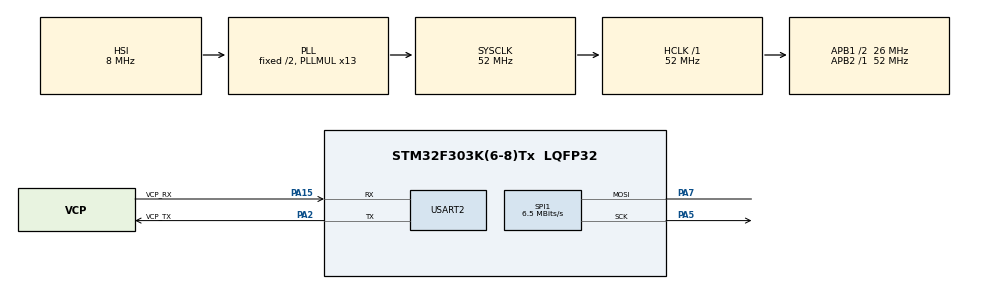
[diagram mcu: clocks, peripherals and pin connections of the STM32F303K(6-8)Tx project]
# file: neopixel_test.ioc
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Dma.Request0=SPI1_TX
Dma.SPI1_TX.0.Direction=DMA_MEMORY_TO_PERIPH
Dma.SPI1_TX.0.Instance=DMA1_Channel3
Dma.SPI1_TX.0.MemDataAlignment=DMA_MDATAALIGN_BYTE
Dma.SPI1_TX.0.MemInc=DMA_MINC_ENABLE
Dma.SPI1_TX.0.Mode=DMA_NORMAL
Dma.SPI1_TX.0.PeriphDataAlignment=DMA_PDATAALIGN_BYTE
Dma.SPI1_TX.0.PeriphInc=DMA_PINC_DISABLE
Dma.SPI1_TX.0.Priority=DMA_PRIORITY_LOW
Mcu.Family=STM32F3
Mcu.Name=STM32F303K(6-8)Tx
Mcu.Package=LQFP32
NVIC.DMA1_Channel3_IRQn=true\:0\:0\:false\:false\:true\:false\:true\:true
NVIC.PriorityGroup=NVIC_PRIORITYGROUP_4
PA13.GPIO_Label=SWDIO
PA13.Mode=Serial_Wire
PA13.Signal=SYS_JTMS-SWDIO
PA14.GPIO_Label=SWCLK
PA14.Mode=Serial_Wire
PA14.Signal=SYS_JTCK-SWCLK
PA15.GPIO_Label=VCP_RX
PA15.Mode=Asynchronous
PA15.Signal=USART2_RX
PA2.GPIO_Label=VCP_TX
PA2.Mode=Asynchronous
PA2.Signal=USART2_TX
PA5.Mode=Simplex_Bidirectional_Master
PA5.Signal=SPI1_SCK
PA7.Mode=Simplex_Bidirectional_Master
PA7.Signal=SPI1_MOSI
PF0\ /\ OSC_IN.GPIO_Label=MCO
PF0\ /\ OSC_IN.Mode=HSE-External-Clock-Source
PF0\ /\ OSC_IN.Signal=RCC_OSC_IN
ProjectManager.HeapSize=0x200
ProjectManager.StackSize=0x400
ProjectManager.TargetToolchain=STM32CubeIDE
RCC.AHBFreq_Value=52000000
RCC.APB1CLKDivider=RCC_HCLK_DIV2
RCC.APB1Freq_Value=26000000
RCC.APB1TimFreq_Value=52000000
RCC.APB2Freq_Value=52000000
RCC.APB2TimFreq_Value=52000000
RCC.CortexFreq_Value=52000000
RCC.HCLKFreq_Value=52000000
RCC.HSE_VALUE=8000000
RCC.HSI_VALUE=8000000
RCC.PLLMUL=RCC_PLL_MUL13
RCC.SYSCLKFreq_VALUE=52000000
RCC.SYSCLKSourceVirtual=RCC_SYSCLKSOURCE_PLLCLK
SPI1.BaudRatePrescaler=SPI_BAUDRATEPRESCALER_8
SPI1.CalculateBaudRate=6.5 MBits/s
SPI1.DataSize=SPI_DATASIZE_8BIT
SPI1.Direction=SPI_DIRECTION_1LINE
SPI1.Mode=SPI_MODE_MASTER
SPI1.NSSPMode=SPI_NSS_PULSE_DISABLE
SPI1.VirtualType=VM_MASTER
USART2.VirtualMode-Asynchronous=VM_ASYNC
board=NUCLEO-F303K8

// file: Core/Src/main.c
/* USER CODE BEGIN Header */
/**
 ******************************************************************************
 * @file           : main.c
 * @brief          : Main program body
 ******************************************************************************
 * @attention
 *
 * Copyright (c) 2024 STMicroelectronics.
 * All rights reserved.
 *
 * This software is licensed under terms that can be found in the LICENSE file
 * in the root directory of this software component.
 * If no LICENSE file comes with this software, it is provided AS-IS.
 *
 ******************************************************************************
 */
/* USER CODE END Header */
#include "main.h"

/* USER CODE BEGIN Includes */
#include <malloc.h>
#include "active_marker.h"
#include "neopixel_spi.h"
#include "user_func.h"
/* USER CODE END Includes */

/* USER CODE BEGIN PTD */
typedef enum {
  CYCLE_MAIN, CYCLE_LAST
} Cycle;
/* USER CODE END PTD */

SPI_HandleTypeDef hspi1;
DMA_HandleTypeDef hdma_spi1_tx;

UART_HandleTypeDef huart2;

void SystemClock_Config(void);
static void MX_GPIO_Init(void);
static void MX_DMA_Init(void);
static void MX_USART2_UART_Init(void);
static void MX_SPI1_Init(void);

int main(void) {

  /* MCU Configuration--------------------------------------------------------*/

  /* Reset of all peripherals, Initializes the Flash interface and the Systick. */
  HAL_Init();

  /* Configure the system clock */
  SystemClock_Config();

  /* Initialize all configured peripherals */
  MX_GPIO_Init();
  MX_DMA_Init();
  MX_USART2_UART_Init();
  MX_SPI1_Init();
  /* USER CODE BEGIN 2 */
  /* USER CODE BEGIN 2 */
  //set cycle value
  float *cycle_basis = (float*) calloc(CYCLE_LAST, sizeof(float));
  uint32_t *cycle_old = (uint32_t*) calloc(CYCLE_LAST, sizeof(uint32_t));
  cycle_basis[CYCLE_MAIN] = 100;
  RGB RGB_buf[N];
  int i = 0;

  NeoPixel_Init(&hspi1);
  /* USER CODE END 2 */

  /* Infinite loop */
  /* USER CODE BEGIN WHILE */
  while (1) {
    RGB_buf[0].r = i % 255;
    RGB_buf[0].g = i * i % 255;
    RGB_buf[0].b = i * i * i % 255;
//    NeoPixel_Send(RGB_buf);
//    NeoPixel_FullBright();
    setPattern(8,1);
    while (!CycleController(CYCLE_MAIN, cycle_basis, cycle_old)) {
      HAL_Delay(1);
    }
    i++;
    /* USER CODE END WHILE */

  }
}

void SystemClock_Config(void) {
  RCC_OscInitTypeDef RCC_OscInitStruct =
    { 0 };
  RCC_ClkInitTypeDef RCC_ClkInitStruct =
    { 0 };

  /** Initializes the RCC Oscillators according to the specified parameters
   * in the RCC_OscInitTypeDef structure.
   */
  RCC_OscInitStruct.OscillatorType = RCC_OSCILLATORTYPE_HSI;
  RCC_OscInitStruct.HSIState = RCC_HSI_ON;
  RCC_OscInitStruct.HSICalibrationValue = RCC_HSICALIBRATION_DEFAULT;
  RCC_OscInitStruct.PLL.PLLState = RCC_PLL_ON;
  RCC_OscInitStruct.PLL.PLLSource = RCC_PLLSOURCE_HSI;
  RCC_OscInitStruct.PLL.PLLMUL = RCC_PLL_MUL13;
  if (HAL_RCC_OscConfig(&RCC_OscInitStruct) != HAL_OK) {
    Error_Handler();
  }

  /** Initializes the CPU, AHB and APB buses clocks
   */
  RCC_ClkInitStruct.ClockType = RCC_CLOCKTYPE_HCLK | RCC_CLOCKTYPE_SYSCLK
      | RCC_CLOCKTYPE_PCLK1 | RCC_CLOCKTYPE_PCLK2;
  RCC_ClkInitStruct.SYSCLKSource = RCC_SYSCLKSOURCE_PLLCLK;
  RCC_ClkInitStruct.AHBCLKDivider = RCC_SYSCLK_DIV1;
  RCC_ClkInitStruct.APB1CLKDivider = RCC_HCLK_DIV2;
  RCC_ClkInitStruct.APB2CLKDivider = RCC_HCLK_DIV1;

  if (HAL_RCC_ClockConfig(&RCC_ClkInitStruct, FLASH_LATENCY_2) != HAL_OK) {
    Error_Handler();
  }
}

static void MX_SPI1_Init(void) {

  /* SPI1 parameter configuration*/
  hspi1.Instance = SPI1;
  hspi1.Init.Mode = SPI_MODE_MASTER;
  hspi1.Init.Direction = SPI_DIRECTION_1LINE;
  hspi1.Init.DataSize = SPI_DATASIZE_8BIT;
  hspi1.Init.CLKPolarity = SPI_POLARITY_LOW;
  hspi1.Init.CLKPhase = SPI_PHASE_1EDGE;
  hspi1.Init.NSS = SPI_NSS_SOFT;
  hspi1.Init.BaudRatePrescaler = SPI_BAUDRATEPRESCALER_8;
  hspi1.Init.FirstBit = SPI_FIRSTBIT_MSB;
  hspi1.Init.TIMode = SPI_TIMODE_DISABLE;
  hspi1.Init.CRCCalculation = SPI_CRCCALCULATION_DISABLE;
  hspi1.Init.CRCPolynomial = 7;
  hspi1.Init.CRCLength = SPI_CRC_LENGTH_DATASIZE;
  hspi1.Init.NSSPMode = SPI_NSS_PULSE_DISABLE;
  if (HAL_SPI_Init(&hspi1) != HAL_OK) {
    Error_Handler();
  }

}

static void MX_USART2_UART_Init(void) {

  huart2.Instance = USART2;
  huart2.Init.BaudRate = 38400;
  huart2.Init.WordLength = UART_WORDLENGTH_8B;
  huart2.Init.StopBits = UART_STOPBITS_1;
  huart2.Init.Parity = UART_PARITY_NONE;
  huart2.Init.Mode = UART_MODE_TX_RX;
  huart2.Init.HwFlowCtl = UART_HWCONTROL_NONE;
  huart2.Init.OverSampling = UART_OVERSAMPLING_16;
  huart2.Init.OneBitSampling = UART_ONE_BIT_SAMPLE_DISABLE;
  huart2.AdvancedInit.AdvFeatureInit = UART_ADVFEATURE_NO_INIT;
  if (HAL_UART_Init(&huart2) != HAL_OK) {
    Error_Handler();
  }

}

static void MX_DMA_Init(void) {

  /* DMA controller clock enable */
  __HAL_RCC_DMA1_CLK_ENABLE();

  /* DMA interrupt init */
  /* DMA1_Channel3_IRQn interrupt configuration */
  HAL_NVIC_SetPriority(DMA1_Channel3_IRQn, 0, 0);
  HAL_NVIC_EnableIRQ(DMA1_Channel3_IRQn);

}

static void MX_GPIO_Init(void) {

  /* GPIO Ports Clock Enable */
  __HAL_RCC_GPIOF_CLK_ENABLE();
  __HAL_RCC_GPIOA_CLK_ENABLE();

}

void Error_Handler(void) {
  __disable_irq();
  while (1) {
  }
}
